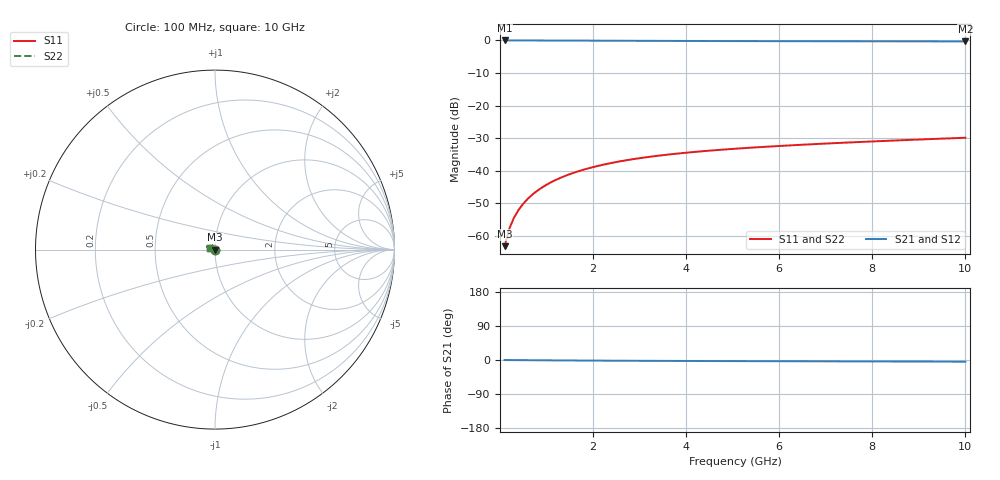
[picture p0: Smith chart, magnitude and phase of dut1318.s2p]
! Touchstone file exported from HFSS 2024.1.0
!  File:  C:/UserFiles/LocalFiles/RDL_TSV_Batchsim/temp_TSV1_1318_1780374139.aedt
!  Generated:  12:27:39 PM Jun  2, 2026
!  Design:  TSV1
!  Project:  temp_TSV1_1318_1780374139
!  Setup:  Setup1
!  Solution:  Sweep
! Variables:
!  dtsv = 6.22um
!  hbump = 3um
!  htsv = 66.49um
!  lrdl = 252.1521522um
!  p = 40
!  p1 = 44.13um
!  t = 500um
!  trdl = 3um
!  wrdl = 24.89489489um
# GHz S MA R 50.000000
! Terminal data exported
! Port[1] = TSV22_T1
! Port[2] = TSV22_T2
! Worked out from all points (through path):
!   100 points, 100 MHz to 10 GHz, reference 50 ohm
!   highest |S21| = 0.00 dB at 100 MHz (marker M1); lowest = -0.3 dB at 10 GHz (marker M2)
!   lowest |S11| = -63.2 dB at 100 MHz (marker M3), VSWR 1.00, Z = 50 - j0.0619 ohm
!   |S11| at or under -10 dB: start of sweep to end of sweep
!   |S22| runs from -63.2 to -29.9 dB; largest |S21 - S12| = 5.2e-15
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0.1  0.0006908 -63.5  0.9996 -0.1  0.9996 -0.1  0.0006908 -63.5
! Gamma 0 0 0 0
! Port Impedance 50 0 50 0
0.2  0.001277 -78.7  0.9996 -0.2  0.9996 -0.2  0.001277 -78.7
0.3  0.001884 -85.5  0.9995 -0.3  0.9995 -0.3  0.001884 -85.5
0.4  0.002493 -90.0  0.9993 -0.4  0.9993 -0.4  0.002493 -90.0
0.5  0.003101 -93.5  0.9991 -0.4  0.9991 -0.4  0.003101 -93.5
0.6  0.003706 -96.4  0.9989 -0.5  0.9989 -0.5  0.003706 -96.4
0.7  0.004305 -99.0  0.9986 -0.6  0.9986 -0.6  0.004305 -99.0
0.8  0.004898 -101.5  0.9983 -0.7  0.9983 -0.7  0.004898 -101.5
0.9  0.005485 -103.8  0.998 -0.8  0.998 -0.8  0.005485 -103.8
1.1  0.006634 -108.1  0.9972 -0.9  0.9972 -0.9  0.006634 -108.1
1.4  0.00829 -114.1  0.9959 -1.2  0.9959 -1.2  0.00829 -114.1
1.6  0.009344 -117.9  0.9949 -1.3  0.9949 -1.3  0.009344 -117.9
1.8  0.01035 -121.5  0.9938 -1.4  0.9938 -1.4  0.01035 -121.5
2.1  0.01179 -126.7  0.9921 -1.6  0.9921 -1.6  0.01179 -126.7
2.5  0.01355 -133.2  0.9899 -1.9  0.9899 -1.9  0.01355 -133.2
2.9  0.01515 -139.3  0.9876 -2.1  0.9876 -2.1  0.01515 -139.3
3.4  0.01694 -146.2  0.9849 -2.3  0.9849 -2.3  0.01694 -146.2
4.2  0.01943 -156.2  0.981 -2.6  0.981 -2.6  0.01943 -156.2
5.1  0.02181 -165.8  0.9774 -2.9  0.9774 -2.9  0.02181 -165.8
6.7  0.02542 180.0  0.9726 -3.5  0.9726 -3.5  0.02542 180.0
8.4  0.02886 168.0  0.9691 -4.0  0.9691 -4.0  0.02886 168.0
10  0.03199 158.8  0.9668 -4.5  0.9668 -4.5  0.03199 158.8
